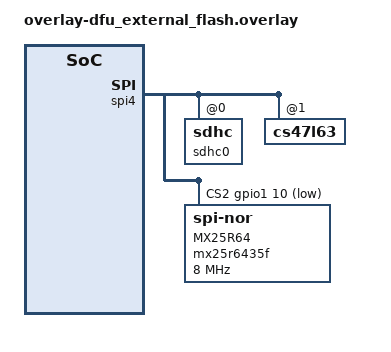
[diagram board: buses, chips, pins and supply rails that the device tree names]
/ {
	chosen {
		nordic,pm-ext-flash = &mx25r64;
	};
};

/ {
	soc {
		/* Add a flash controller which has the compatible
		 * 'zephyr,sim-flash'. This will ensure that the flash
		 * simulator can use it. None of the other properties in this
		 * node is used for anything.
		 */
		nordic_ram_flash_controller: nordic_ram-flash-controller@0 {
			compatible = "zephyr,sim-flash";
			reg = <0x00000000 DT_SIZE_K(40)>;
			#address-cells = <1>;
			#size-cells = <1>;
			erase-value = <0xff>;
			label = "nordic_ram_flash_flash_controller";

			/* This node label must match that used in the flash
			 * simulator.
			 */
			flash_sim0: flash_sim@0 {
				status = "okay";
				compatible = "soc-nv-flash";
				label = "simulated_flash";
				erase-block-size = <4096>;
				write-block-size = <4>;
				reg = <0x00000000 DT_SIZE_K(256)>;

				partitions {
					compatible = "fixed-partitions";
					#address-cells = <1>;
					#size-cells = <1>;

					/* This partition must be defined for
					 * MCUboot to find the partition ID
					 * of the primary slot for image 1,
					 * which is stored in this partition.
					 */
					slot2_partition: partition@0 {
						label = "image-2";
						reg = <0x00000000 0x00000A000>;
					};
				};
			};
		};
	};
};

&qspi {
	status = "disabled";
};

&spi4 {
	cs-gpios = <&gpio0 11 GPIO_ACTIVE_LOW>, <&gpio0 17 GPIO_ACTIVE_LOW>, < &gpio1 10 GPIO_ACTIVE_LOW >;
	status = "okay";
	sdhc0: sdhc@0 {
		status = "okay";
	};
	cs47l63: cs47l63@1 {
		status = "okay";
	};
	mx25r64: mx25r6435f@2 {

		compatible = "jedec,spi-nor";
		reg = <2>;
		spi-max-frequency = <8000000>;

		label = "MX25R64";
		jedec-id = [c2 28 17];
		sfdp-bfp = [
			e5 20 f1 ff  ff ff ff 03  44 eb 08 6b  08 3b 04 bb
			ee ff ff ff  ff ff 00 ff  ff ff 00 ff  0c 20 0f 52
			10 d8 00 ff  23 72 f5 00  82 ed 04 cc  44 83 68 44
			30 b0 30 b0  f7 c4 d5 5c  00 be 29 ff  f0 d0 ff ff
		];
		size = <67108864>;
		has-dpd;
		t-enter-dpd = <10000>;
		t-exit-dpd = <5000>;
		dpd-wakeup-sequence = <30000 20 45000>;
	};
};

&gpio_fwd {
	uart {
		gpios = < &gpio1 0x9 0x0 >, < &gpio1 0x8 0x0 >, < &gpio1 0xb 0x0 >;
	};
};
